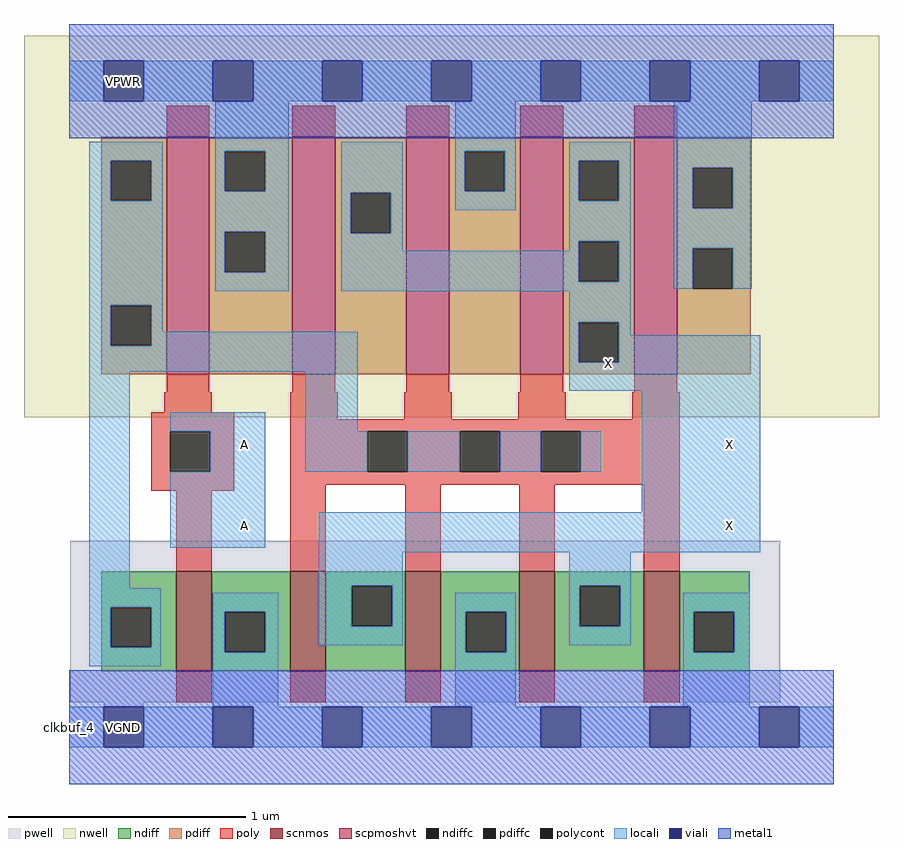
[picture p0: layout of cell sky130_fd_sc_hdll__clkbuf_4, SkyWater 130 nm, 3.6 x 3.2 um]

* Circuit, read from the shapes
.subckt sky130_fd_sc_hdll__clkbuf_4 A VGND VNB VPB VPWR X
XM1 VGND A n1 VNB sky130_fd_pr__nfet_01v8 w=0.42 l=0.15
XM2 X n1 VGND VNB sky130_fd_pr__nfet_01v8 w=0.42 l=0.15 m=4
XM3 VPWR A n1 VPB sky130_fd_pr__pfet_01v8_hvt w=1 l=0.18
XM4 X n1 VPWR VPB sky130_fd_pr__pfet_01v8_hvt w=1 l=0.18 m=4
.ends

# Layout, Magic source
magic
tech sky130A
magscale 1 2
<< nwell >>
rect -38 261 682 582
<< pwell >>
rect 1 21 599 157
rect 29 -17 63 21
<< scnmos >>
rect 90 47 120 131
rect 186 47 216 131
rect 283 47 313 131
rect 379 47 409 131
rect 484 47 514 131
<< scpmoshvt >>
rect 82 297 118 497
rect 188 297 224 497
rect 284 297 320 497
rect 380 297 416 497
rect 476 297 512 497
<< ndiff >>
rect 27 101 90 131
rect 27 67 35 101
rect 69 67 90 101
rect 27 47 90 67
rect 120 97 186 131
rect 120 63 131 97
rect 165 63 186 97
rect 120 47 186 63
rect 216 119 283 131
rect 216 85 238 119
rect 272 85 283 119
rect 216 47 283 85
rect 313 97 379 131
rect 313 63 334 97
rect 368 63 379 97
rect 313 47 379 63
rect 409 119 484 131
rect 409 85 430 119
rect 464 85 484 119
rect 409 47 484 85
rect 514 97 573 131
rect 514 63 526 97
rect 560 63 573 97
rect 514 47 573 63
<< pdiff >>
rect 27 477 82 497
rect 27 443 35 477
rect 69 443 82 477
rect 27 355 82 443
rect 27 321 35 355
rect 69 321 82 355
rect 27 297 82 321
rect 118 485 188 497
rect 118 451 131 485
rect 165 451 188 485
rect 118 417 188 451
rect 118 383 131 417
rect 165 383 188 417
rect 118 297 188 383
rect 224 450 284 497
rect 224 416 237 450
rect 271 416 284 450
rect 224 297 284 416
rect 320 485 380 497
rect 320 451 333 485
rect 367 451 380 485
rect 320 297 380 451
rect 416 477 476 497
rect 416 443 429 477
rect 463 443 476 477
rect 416 409 476 443
rect 416 375 429 409
rect 463 375 476 409
rect 416 341 476 375
rect 416 307 429 341
rect 463 307 476 341
rect 416 297 476 307
rect 512 471 574 497
rect 512 437 525 471
rect 559 437 574 471
rect 512 403 574 437
rect 512 369 525 403
rect 559 369 574 403
rect 512 297 574 369
<< ndiffc >>
rect 35 67 69 101
rect 131 63 165 97
rect 238 85 272 119
rect 334 63 368 97
rect 430 85 464 119
rect 526 63 560 97
<< pdiffc >>
rect 35 443 69 477
rect 35 321 69 355
rect 131 451 165 485
rect 131 383 165 417
rect 237 416 271 450
rect 333 451 367 485
rect 429 443 463 477
rect 429 375 463 409
rect 429 307 463 341
rect 525 437 559 471
rect 525 369 559 403
<< poly >>
rect 82 497 118 523
rect 188 497 224 523
rect 284 497 320 523
rect 380 497 416 523
rect 476 497 512 523
rect 82 282 118 297
rect 188 282 224 297
rect 284 282 320 297
rect 380 282 416 297
rect 476 282 512 297
rect 80 265 120 282
rect 69 249 139 265
rect 69 215 85 249
rect 119 215 139 249
rect 69 199 139 215
rect 186 259 226 282
rect 282 259 322 282
rect 378 259 418 282
rect 474 259 514 282
rect 186 249 514 259
rect 186 215 251 249
rect 285 215 329 249
rect 363 215 397 249
rect 431 215 514 249
rect 186 204 514 215
rect 90 131 120 199
rect 186 131 216 204
rect 283 131 313 204
rect 379 131 409 204
rect 484 131 514 204
rect 90 21 120 47
rect 186 21 216 47
rect 283 21 313 47
rect 379 21 409 47
rect 484 21 514 47
<< polycont >>
rect 85 215 119 249
rect 251 215 285 249
rect 329 215 363 249
rect 397 215 431 249
<< locali >>
rect 0 527 29 561
rect 63 527 121 561
rect 155 527 213 561
rect 247 527 305 561
rect 339 527 397 561
rect 431 527 489 561
rect 523 527 581 561
rect 615 527 644 561
rect 17 477 79 493
rect 17 443 35 477
rect 69 443 79 477
rect 17 355 79 443
rect 123 485 185 527
rect 123 451 131 485
rect 165 451 185 485
rect 123 417 185 451
rect 123 383 131 417
rect 165 383 185 417
rect 123 367 185 383
rect 229 450 281 493
rect 229 416 237 450
rect 271 416 281 450
rect 325 485 376 527
rect 325 451 333 485
rect 367 451 376 485
rect 325 435 376 451
rect 421 477 473 493
rect 421 443 429 477
rect 463 443 473 477
rect 229 401 281 416
rect 421 409 473 443
rect 421 401 429 409
rect 229 375 429 401
rect 463 375 473 409
rect 229 367 473 375
rect 509 471 575 527
rect 509 437 525 471
rect 559 437 575 471
rect 509 403 575 437
rect 509 369 525 403
rect 559 369 575 403
rect 17 321 35 355
rect 69 333 79 355
rect 421 341 473 367
rect 69 321 243 333
rect 17 299 243 321
rect 17 117 51 299
rect 85 249 165 265
rect 119 215 165 249
rect 199 249 243 299
rect 421 307 429 341
rect 463 330 473 341
rect 463 307 582 330
rect 421 283 582 307
rect 199 215 251 249
rect 285 215 329 249
rect 363 215 397 249
rect 431 215 448 249
rect 85 151 165 215
rect 482 181 582 283
rect 210 147 582 181
rect 210 119 281 147
rect 17 101 77 117
rect 17 67 35 101
rect 69 67 77 101
rect 17 51 77 67
rect 121 97 176 113
rect 121 63 131 97
rect 165 63 176 97
rect 210 85 238 119
rect 272 85 281 119
rect 421 119 473 147
rect 210 69 281 85
rect 325 97 376 113
rect 121 17 176 63
rect 325 63 334 97
rect 368 63 376 97
rect 421 85 430 119
rect 464 85 473 119
rect 421 69 473 85
rect 517 97 573 113
rect 325 17 376 63
rect 517 63 526 97
rect 560 63 573 97
rect 517 17 573 63
rect 0 -17 29 17
rect 63 -17 121 17
rect 155 -17 213 17
rect 247 -17 305 17
rect 339 -17 397 17
rect 431 -17 489 17
rect 523 -17 581 17
rect 615 -17 644 17
<< viali >>
rect 29 527 63 561
rect 121 527 155 561
rect 213 527 247 561
rect 305 527 339 561
rect 397 527 431 561
rect 489 527 523 561
rect 581 527 615 561
rect 29 -17 63 17
rect 121 -17 155 17
rect 213 -17 247 17
rect 305 -17 339 17
rect 397 -17 431 17
rect 489 -17 523 17
rect 581 -17 615 17
<< metal1 >>
rect 0 561 644 592
rect 0 527 29 561
rect 63 527 121 561
rect 155 527 213 561
rect 247 527 305 561
rect 339 527 397 561
rect 431 527 489 561
rect 523 527 581 561
rect 615 527 644 561
rect 0 496 644 527
rect 0 17 644 48
rect 0 -17 29 17
rect 63 -17 121 17
rect 155 -17 213 17
rect 247 -17 305 17
rect 339 -17 397 17
rect 431 -17 489 17
rect 523 -17 581 17
rect 615 -17 644 17
rect 0 -48 644 -17
<< labels >>
flabel locali s 437 289 471 323 0 FreeSans 200 0 0 0 X
port 6 nsew signal output
flabel locali s 131 153 165 187 0 FreeSans 200 0 0 0 A
port 1 nsew signal input
flabel locali s 539 153 573 187 0 FreeSans 200 0 0 0 X
port 6 nsew signal output
flabel locali s 131 221 165 255 0 FreeSans 200 0 0 0 A
port 1 nsew signal input
flabel locali s 539 221 573 255 0 FreeSans 200 0 0 0 X
port 6 nsew signal output
flabel metal1 s 29 -17 63 17 0 FreeSans 200 0 0 0 VGND
port 2 nsew ground bidirectional
flabel metal1 s 29 527 63 561 0 FreeSans 200 0 0 0 VPWR
port 5 nsew power bidirectional
flabel nwell s 29 527 63 561 0 FreeSans 200 0 0 0 VPB
port 4 nsew power bidirectional
flabel pwell s 29 -17 63 17 0 FreeSans 200 0 0 0 VNB
port 3 nsew ground bidirectional
rlabel comment s 0 0 0 0 4 clkbuf_4
<< properties >>
string LEFsite unithd
string LEFclass CORE
string FIXED_BBOX 0 0 644 544
string GDS_FILE $PDKPATH/libs.ref/sky130_fd_sc_hdll/gds/sky130_fd_sc_hdll.gds
string LEFsymmetry X Y R90
string GDS_END 914812
string GDS_START 909368
string LEFproperties maskLayoutSubType "abstract" prCellType "standard" originalViewName "layout"
<< end >>
